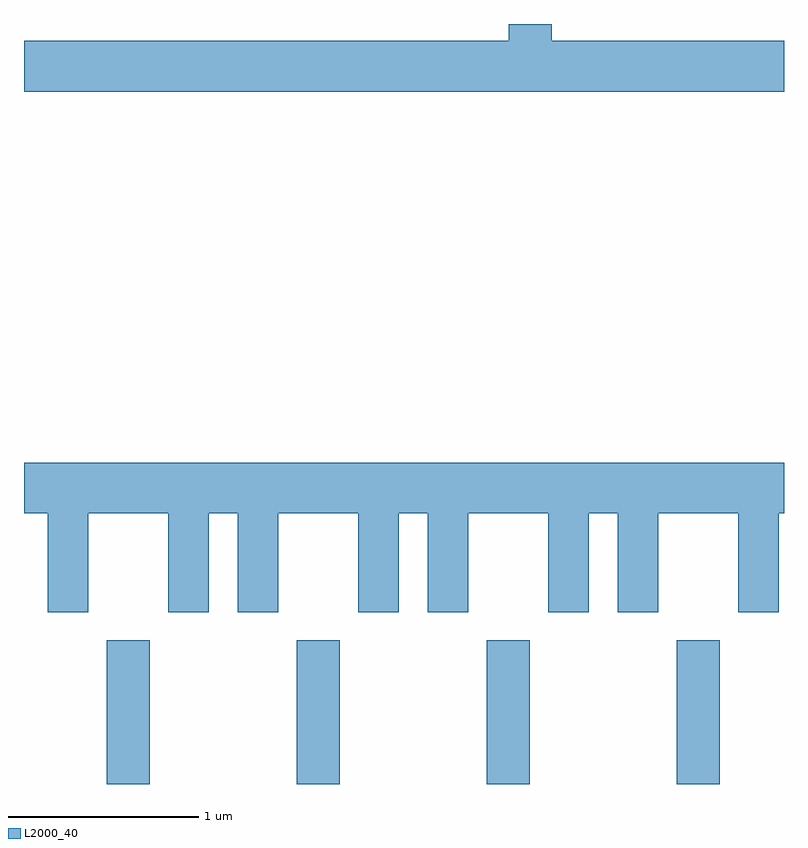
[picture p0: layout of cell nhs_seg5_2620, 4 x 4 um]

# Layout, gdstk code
import gdstk
lib = gdstk.Library(unit=1e-6, precision=1e-09)
def R(c, l, rs):  # rectangles x0, y0, x1, y1
    for r in rs: c.add(gdstk.rectangle(r[:2], r[2:], *l))
def A(c, l, x, y, w, h, nx, ny, dx, dy):  # array of equal rectangles
    R(c, l, [(x+i*dx, y+j*dy, x+i*dx+w, y+j*dy+h) for i in range(nx) for j in range(ny)])
def P(c, l, *ps):  # polygons
    for p in ps: c.add(gdstk.Polygon(p, *l))
L2000_40 = (2000, 40)

nhs_seg5_2620 = lib.new_cell('nhs_seg5_2620')
A(nhs_seg5_2620, L2000_40, 264.046, 1422.072, 0.228, 0.757, 4, 1, 1, 0)
P(nhs_seg5_2620, L2000_40, [(267.611,1425.984),(266.389,1425.984),(266.389,1426.072),(266.161,1426.072),(266.161,1425.984),(263.611,1425.984),(263.611,1425.716),(267.611,1425.716)],
  [(263.949,1423.496),(264.371,1423.496),(264.371,1422.976),(264.584,1422.976),(264.584,1423.496),(264.736,1423.496),(264.736,1422.976),(264.949,1422.976),(264.949,1423.496),(265.371,1423.496),(265.371,1422.976),(265.584,1422.976),(265.584,1423.496),(265.736,1423.496),(265.736,1422.976),(265.949,1422.976),(265.949,1423.496),(266.371,1423.496),(266.371,1422.976),(266.584,1422.976),(266.584,1423.496),(266.736,1423.496),(266.736,1422.976),(266.949,1422.976),(266.949,1423.496),(267.371,1423.496),(267.371,1422.976),(267.584,1422.976),(267.584,1423.496),(267.611,1423.496),(267.611,1423.764),(263.611,1423.764),(263.611,1423.496),(263.736,1423.496),(263.736,1422.976),(263.949,1422.976)])

lib.write_gds('nhs_seg5_2620.gds')
